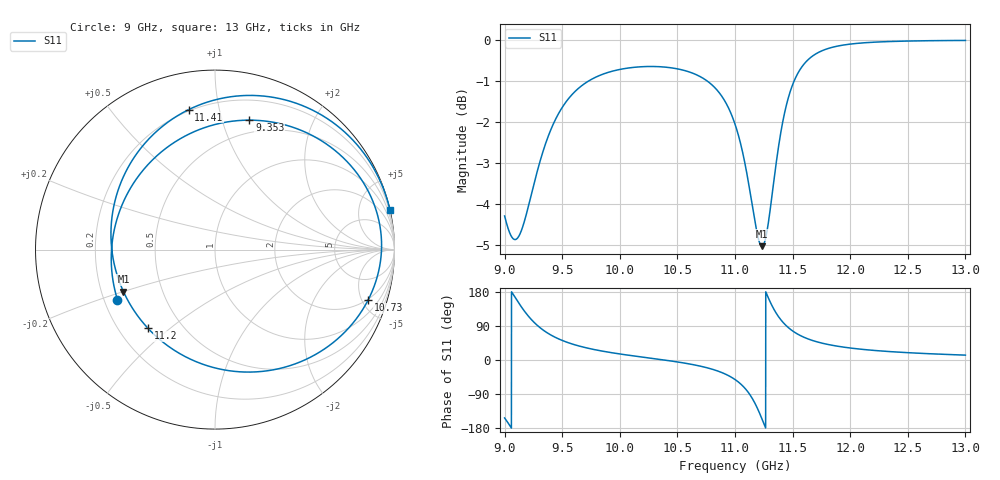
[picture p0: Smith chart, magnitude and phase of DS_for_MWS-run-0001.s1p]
! TOUCHSTONE file generated by CST DESIGN STUDIO
! Date and time: Tue Feb  4 17:48:08 2025
! Project name: C:\Work\MatlabApps\UnitCellOptimizationMatlab\CST\unitcell.cst
! Tree item: Tasks\Sweep1\SPara1\S-Parameters
! Header version: 2024
! Port assignment regex: !\s*Touchstone port\s*([0-9]+)\s*=\s*(CST MWS port|CST DES external port|CST DES block port)\s*(.+)\s* \(\"(.*)\"\)(\s*mode\s*([0-9]+))?.*
! Touchstone port assignment:
! Touchstone port 1 = CST DES external port 1 ("")
# GHz S MA R 50
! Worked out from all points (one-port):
!   4001 points, 9 GHz to 13 GHz, reference 50 ohm
!   lowest |S11| = -5.0 dB at 11.23 GHz (marker M1), VSWR 3.56, Z = 14.7 - j10 ohm
!   |S11| at or under -10 dB: nowhere
!   S11 on the Smith chart (normalised r, x): 9 GHz: 0.25, -0.23; 9.353 GHz: 0.38, +1.23; 10.73 GHz: 1.92, -5.58; 11.2 GHz: 0.32, -0.42; 11.41 GHz: 0.19, +0.81; 13 GHz: 0.02, +8.87
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9  0.6109 -152.9
9.092  0.5717 164.8
9.192  0.6163 121.1
9.267  0.6786 96.1
9.353  0.7464 75.1
9.5  0.8283 51.6
9.71  0.8886 32.0
10  0.9214 15.9
10.5  0.923 -5.1
10.728  0.898 -18.3
10.883  0.8557 -32.8
11  0.7904 -51.5
11.058  0.7388 -65.7
11.116  0.6719 -85.8
11.159  0.6174 -106.2
11.199  0.5758 -130.5
11.234  0.5612 -155.4
11.272  0.5795 176.3
11.309  0.6272 150.9
11.361  0.7144 122.0
11.413  0.7935 100.7
11.5  0.8826 76.7
11.59  0.932 61.2
11.695  0.9613 49.4
11.827  0.979 39.8
12  0.9893 31.6
12.5  0.9978 19.3
13  0.9995 12.9
